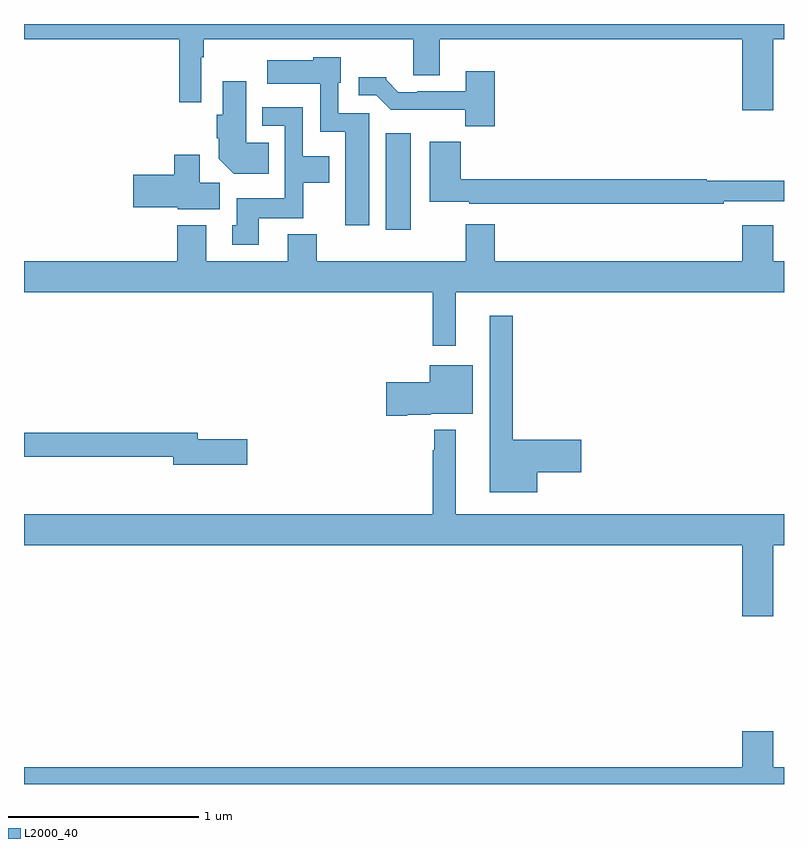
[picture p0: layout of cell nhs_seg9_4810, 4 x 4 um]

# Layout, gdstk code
import gdstk
lib = gdstk.Library(unit=1e-6, precision=1e-09)
def R(c, l, rs):  # rectangles x0, y0, x1, y1
    for r in rs: c.add(gdstk.rectangle(r[:2], r[2:], *l))
def P(c, l, *ps):  # polygons
    for p in ps: c.add(gdstk.Polygon(p, *l))
L2000_40 = (2000, 40)

nhs_seg9_4810 = lib.new_cell('nhs_seg9_4810')
R(nhs_seg9_4810, L2000_40, [(390.905,1195.416,391.036,1195.924)])
P(nhs_seg9_4810, L2000_40, [(392.944,1196.42),(393,1196.42),(393,1196.5),(389,1196.5),(389,1196.42),(389.818,1196.42),(389.818,1196.088),(389.934,1196.088),(389.934,1196.324),(389.947,1196.324),(389.947,1196.42),(391.049,1196.42),(391.049,1196.23),(391.189,1196.23),(391.189,1196.42),(392.78,1196.42),(392.78,1196.046),(392.944,1196.046)],
  [(390.817,1196.031),(390.654,1196.031),(390.654,1196.19),(390.667,1196.19),(390.667,1196.326),(390.522,1196.326),(390.522,1196.308),(390.279,1196.308),(390.279,1196.186),(390.558,1196.186),(390.558,1195.934),(390.692,1195.934),(390.692,1195.44),(390.817,1195.44)],
  [(391.478,1196.251),(391.325,1196.251),(391.325,1196.145),(391.069,1196.145),(391.069,1196.142),(390.97,1196.142),(390.906,1196.206),(390.906,1196.221),(390.762,1196.221),(390.762,1196.124),(390.855,1196.124),(390.931,1196.048),(391.323,1196.048),(391.323,1195.961),(391.478,1195.961)],
  [(390.287,1195.876),(390.169,1195.876),(390.169,1196.2),(390.047,1196.2),(390.047,1196.022),(390.014,1196.022),(390.014,1195.9),(390.026,1195.9),(390.026,1195.79),(390.104,1195.712),(390.287,1195.712)],
  [(390.235,1195.478),(390.471,1195.478),(390.471,1195.664),(390.607,1195.664),(390.607,1195.804),(390.468,1195.804),(390.468,1196.061),(390.255,1196.061),(390.255,1195.965),(390.372,1195.965),(390.372,1195.582),(390.119,1195.582),(390.119,1195.44),(390.095,1195.44),(390.095,1195.338),(390.235,1195.338)],
  [(392.684,1195.566),(393,1195.566),(393,1195.675),(392.594,1195.675),(392.594,1195.682),(391.298,1195.682),(391.298,1195.879),(391.136,1195.879),(391.136,1195.565),(391.344,1195.565),(391.344,1195.554),(392.684,1195.554)],
  [(390.031,1195.664),(389.926,1195.664),(389.926,1195.813),(389.792,1195.813),(389.792,1195.706),(389.574,1195.706),(389.574,1195.535),(389.808,1195.535),(389.808,1195.526),(390.031,1195.526)],
  [(391.273,1195.088),(393,1195.088),(393,1195.252),(392.944,1195.252),(392.944,1195.441),(392.78,1195.441),(392.78,1195.252),(391.478,1195.252),(391.478,1195.447),(391.325,1195.447),(391.325,1195.252),(390.542,1195.252),(390.542,1195.393),(390.389,1195.393),(390.389,1195.252),(389.959,1195.252),(389.959,1195.441),(389.807,1195.441),(389.807,1195.252),(389,1195.252),(389,1195.088),(391.152,1195.088),(391.152,1194.807),(391.273,1194.807)],
  [(391.702,1194.14),(391.933,1194.14),(391.933,1194.311),(391.573,1194.311),(391.573,1194.964),(391.451,1194.964),(391.451,1194.035),(391.702,1194.035)],
  [(391.018,1194.443),(391.14,1194.443),(391.14,1194.449),(391.363,1194.449),(391.363,1194.703),(391.136,1194.703),(391.136,1194.615),(390.906,1194.615),(390.906,1194.437),(391.018,1194.437)],
  [(392.78,1193.382),(392.944,1193.382),(392.944,1193.756),(393,1193.756),(393,1193.92),(391.273,1193.92),(391.273,1194.364),(391.159,1194.364),(391.159,1194.257),(391.152,1194.257),(391.152,1193.92),(389,1193.92),(389,1193.756),(392.78,1193.756)],
  [(390.175,1194.314),(389.914,1194.314),(389.914,1194.35),(389,1194.35),(389,1194.222),(389.786,1194.222),(389.786,1194.179),(390.175,1194.179)],
  [(389,1192.5),(393,1192.5),(393,1192.588),(392.944,1192.588),(392.944,1192.777),(392.78,1192.777),(392.78,1192.588),(389,1192.588)])

lib.write_gds('nhs_seg9_4810.gds')
